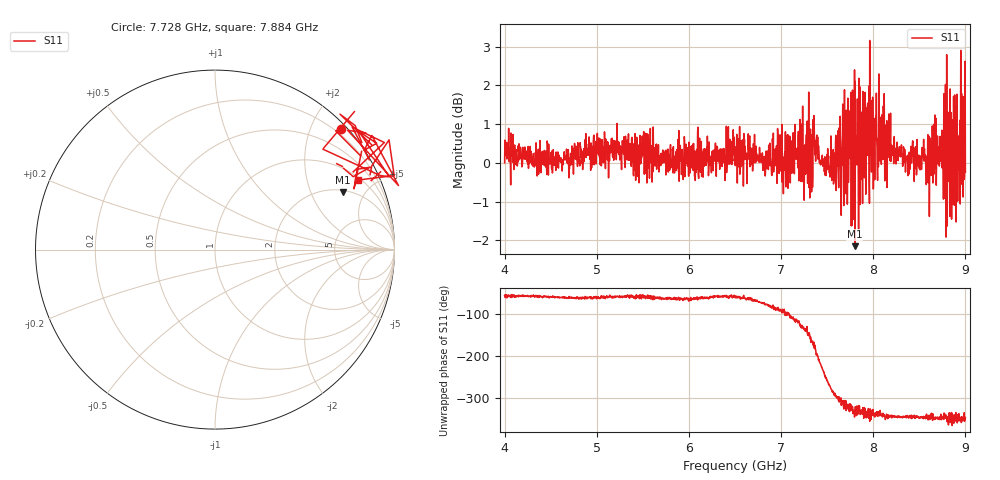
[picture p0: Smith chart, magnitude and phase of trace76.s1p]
! Created with skrf 1.8.0 (http://scikit-rf.org).
# Hz S RI R 50.0
!freq ReS11 ImS11
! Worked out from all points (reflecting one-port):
!   1601 points, 4 GHz to 9 GHz, reference 50 ohm
!   lowest |S11| = -2.2 dB at 7.8 GHz (marker M1), VSWR 8.12, Z = 105 + j172 ohm
!   phase of S11 starts at -57 deg and turns -288 deg over the sweep
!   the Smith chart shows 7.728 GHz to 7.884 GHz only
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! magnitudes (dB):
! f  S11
! 4 GHz  0.0
! 4.625 GHz  -0.2
! 5.25 GHz  0.1
! 5.875 GHz  -0.1
! 6.5 GHz  0.2
! 6.984 GHz  0.5
! 7.038 GHz  0.2
! 7.125 GHz  0.6
! 7.209 GHz  0.4
! 7.319 GHz  0.9
! 7.372 GHz  0.6
! 7.506 GHz  0.4
! 7.75 GHz  0.4
! 7.769 GHz  -1.4
! 7.8 GHz  -2.2
! 7.828 GHz  1.6
! 7.859 GHz  2.0
! 7.962 GHz  3.2
! 7.981 GHz  -0.2
! 8.106 GHz  0.1
! 8.375 GHz  0.2
! 8.591 GHz  0.6
! 8.656 GHz  1.0
! 8.806 GHz  0.4
! 8.822 GHz  1.3
! 8.875 GHz  0.7
! 8.972 GHz  0.9
! 9 GHz  -0.2
